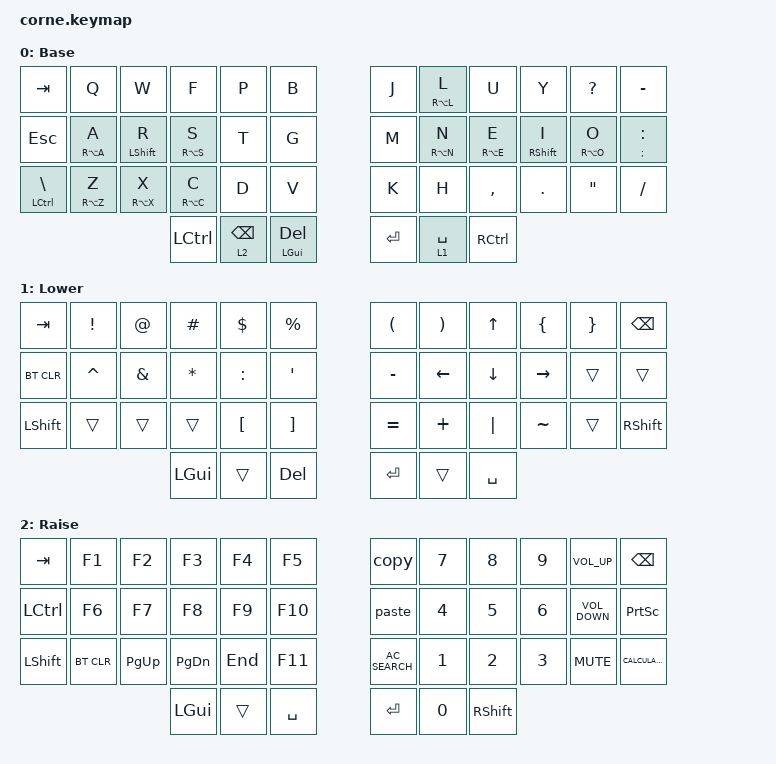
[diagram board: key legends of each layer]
/*
 * Copyright (c) 2020 The ZMK Contributors
 *
 * SPDX-License-Identifier: MIT
 */

#include <behaviors.dtsi>
#include <dt-bindings/zmk/bt.h>
#include <dt-bindings/zmk/keys.h>

/ {
    macros {
        copy: copy {
            compatible = "zmk,behavior-macro";
            #binding-cells = <0>;
            bindings = <&kp LC(C)>;
            label = "COPY";
        };

        paste: paste {
            compatible = "zmk,behavior-macro";
            #binding-cells = <0>;
            bindings = <&kp LC(V)>;
            label = "PASTE";
        };
    };

    behaviors {
        HMRR: HMRR {
            compatible = "zmk,behavior-hold-tap";
            label = "HMRR";
            bindings = <&kp>, <&kp>;

            #binding-cells = <2>;
            tapping-term-ms = <180>;
            quick-tap-ms = <120>;
            hold-trigger-on-release;
            hold-trigger-key-positions = <0 24 12 25 13 1 2 14 26 27 15 3 16 28 4 5 17 17 36 38 29 37 39 40 41>;
            flavor = "tap-preferred";
        };

        HMRL: HMRL {
            compatible = "zmk,behavior-hold-tap";
            label = "HMRL";
            bindings = <&kp>, <&kp>;

            #binding-cells = <2>;
            tapping-term-ms = <180>;
            quick-tap-ms = <120>;
            hold-trigger-on-release;
            hold-trigger-key-positions = <36 38 37 39 40 41 30 18 6 7 31 19 32 19 20 8 9 33 21 22 10 34 35 23 11>;
            flavor = "tap-preferred";
        };
    };

    keymap {
        compatible = "zmk,keymap";

        default_layer {
            // -----------------------------------------------------------------------------------------
            // |  TAB |  Q  |  W  |  E  |  R  |  T  |   |  Y  |  U   |  I  |  O  |  P  | BKSP |
            // | CTRL |  A  |  S  |  D  |  F  |  G  |   |  H  |  J   |  K  |  L  |  ;  |  '   |
            // | SHFT |  Z  |  X  |  C  |  V  |  B  |   |  N  |  M   |  ,  |  .  |  /  | ESC  |
            //                    | GUI | LWR | SPC |   | ENT | RSE  | ALT |

            display-name = "Base";
            bindings = <
&kp TAB                       &kp Q          &kp W               &kp F          &kp P            &kp B               &kp J    &HMRR RA(L) L  &kp U              &kp Y                &kp QUESTION       &kp MINUS
&kp ESCAPE                    &HMRL RA(A) A  &HMRL LEFT_SHIFT R  &HMRL RA(S) S  &kp T            &kp G               &kp M    &HMRR RA(N) N  &HMRR RA(E) E      &HMRR RIGHT_SHIFT I  &HMRR RA(O) O      &HMRR SEMICOLON COLON
&HMRL LEFT_CONTROL BACKSLASH  &HMRL RA(Z) Z  &HMRL RA(X) X       &HMRL RA(C) C  &kp D            &kp V               &kp K    &kp H          &kp COMMA          &kp PERIOD           &kp DOUBLE_QUOTES  &kp SLASH
                                                                 &kp LCTRL      &lt 2 BACKSPACE  &mt LEFT_GUI DEL    &kp RET  &lt 1 SPACE    &kp RIGHT_CONTROL
            >;
        };

        lower_layer {
            // -----------------------------------------------------------------------------------------
            // |  TAB |  1  |  2  |  3  |  4  |  5  |   |  6  |  7  |  8  |  9  |  0  | BKSP |
            // | BTCLR| BT1 | BT2 | BT3 | BT4 | BT5 |   | LFT | DWN |  UP | RGT |     |      |
            // | SHFT |     |     |     |     |     |   |     |     |     |     |     |      |
            //                    | GUI |     | SPC |   | ENT |     | ALT |

            display-name = "Lower";
            bindings = <
&kp TAB     &kp EXCLAMATION  &kp AT_SIGN    &kp POUND     &kp DOLLAR        &kp PERCENT          &kp LEFT_PARENTHESIS  &kp RIGHT_PARENTHESIS  &kp UP_ARROW    &kp LEFT_BRACE  &kp RIGHT_BRACE  &kp BSPC
&bt BT_CLR  &kp CARET        &kp AMPERSAND  &kp ASTERISK  &kp COLON         &kp SQT              &kp MINUS             &kp LEFT_ARROW         &kp DOWN_ARROW  &kp RIGHT       &trans           &trans
&kp LSHFT   &trans           &trans         &trans        &kp LEFT_BRACKET  &kp RIGHT_BRACKET    &kp EQUAL             &kp PLUS               &kp PIPE        &kp TILDE       &trans           &kp RIGHT_SHIFT
                                            &kp LGUI      &trans            &kp DELETE           &kp RET               &trans                 &kp SPACE
            >;
        };

        raise_layer {
            // -----------------------------------------------------------------------------------------
            // |  TAB |  !  |  @  |  #  |  $  |  %  |   |  ^  |  &  |  *  |  (  |  )  | BKSP |
            // | CTRL |     |     |     |     |     |   |  -  |  =  |  [  |  ]  |  \  |  `   |
            // | SHFT |     |     |     |     |     |   |  _  |  +  |  {  |  }  | "|" |  ~   |
            //                    | GUI |     | SPC |   | ENT |     | ALT |

            display-name = "Raise";
            bindings = <
&kp TAB    &kp F1      &kp F2       &kp F3         &kp F4   &kp F5       &copy            &kp NUMBER_7  &kp NUMBER_8     &kp NUMBER_9  &kp C_VOLUME_UP    &kp BSPC
&kp LCTRL  &kp F6      &kp F7       &kp F8         &kp F9   &kp F10      &paste           &kp NUMBER_4  &kp NUMBER_5     &kp NUMBER_6  &kp C_VOLUME_DOWN  &kp PRINTSCREEN
&kp LSHFT  &bt BT_CLR  &kp PAGE_UP  &kp PAGE_DOWN  &kp END  &kp F11      &kp C_AC_SEARCH  &kp NUMBER_1  &kp NUMBER_2     &kp NUMBER_3  &kp K_MUTE         &kp K_CALCULATOR
                                    &kp LGUI       &trans   &kp SPACE    &kp RET          &kp NUMBER_0  &kp RIGHT_SHIFT
            >;
        };
    };
};
